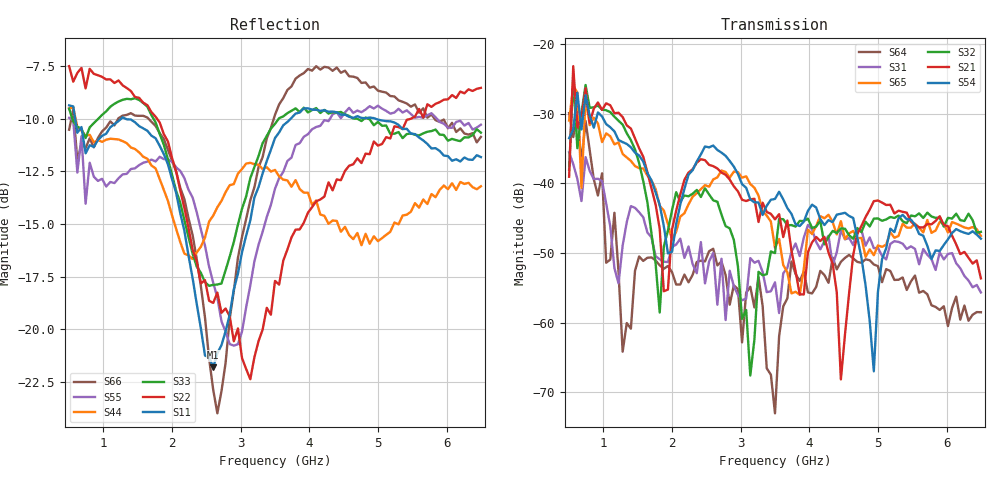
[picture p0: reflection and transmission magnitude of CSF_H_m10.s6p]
!Keysight Technologies,M9804A,MY58100912,A.14.10.03
!Date: Thursday, April 27, 2023 10:28:33
!Correction: S11(C  6-Port  )
!S12(C  6-Port  )
!S13(C  6-Port  )
!S14(C  6-Port  )
!S15(C  6-Port  )
!S16(C  6-Port  )
!S21(C  6-Port  )
!S22(C  6-Port  )
!S23(C  6-Port  )
!S24(C  6-Port  )
!S25(C  6-Port  )
!S26(C  6-Port  )
!S31(C  6-Port  )
!S32(C  6-Port  )
!S33(C  6-Port  )
!S34(C  6-Port  )
!S35(C  6-Port  )
!S36(C  6-Port  )
!S41(C  6-Port  )
!S42(C  6-Port  )
!S43(C  6-Port  )
!S44(C  6-Port  )
!S45(C  6-Port  )
!S46(C  6-Port  )
!S51(C  6-Port  )
!S52(C  6-Port  )
!S53(C  6-Port  )
!S54(C  6-Port  )
!S55(C  6-Port  )
!S56(C  6-Port  )
!S61(C  6-Port  )
!S62(C  6-Port  )
!S63(C  6-Port  )
!S64(C  6-Port  )
!S65(C  6-Port  )
!S66(C  6-Port  )
!S6P File: Measurement: :
# Hz S  RI  R 50
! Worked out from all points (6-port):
!   101 points, 500 MHz to 6.5 GHz, reference 50 ohm
!   strongest paths, dB at 500 MHz, 2 GHz, 3.5 GHz, 5 GHz, 6.5 GHz:
!     S54: -33.5, -49.8, -42.2, -55.5, -47.9
!     S21: -39.0, -46.6, -45.1, -42.4, -53.6
!     S32: -38.0, -43.8, -50.0, -45.0, -46.9
!     S65: -31.0, -48.1, -49.2, -48.9, -47.5
!     S31: -35.5, -49.1, -54.2, -49.2, -55.6
!     S64: -29.9, -52.7, -73.0, -51.9, -58.5
!   lowest |S11| = -21.8 dB at 2.6 GHz (marker M1), VSWR 1.18, Z = 42.7 + j2.01 ohm
!   |S11| at or under -10 dB: 588.6 MHz to 1.254 GHz (665.2 MHz wide, 72.2 % of centre); 1.33 GHz to 3.724 GHz (2.395 GHz wide, 94.8 % of centre); 4.973 GHz to end of sweep
